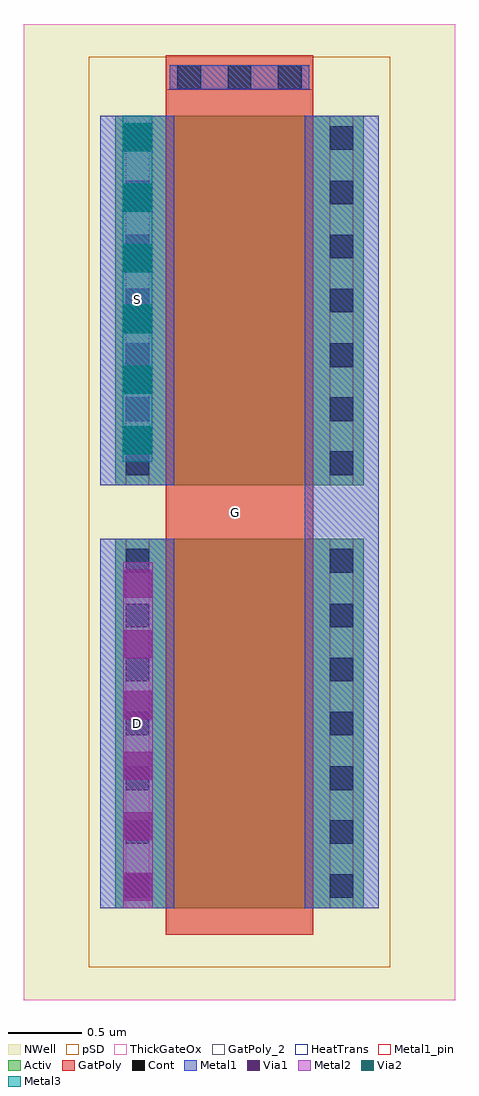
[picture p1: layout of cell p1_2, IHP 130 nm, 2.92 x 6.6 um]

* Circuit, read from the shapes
.subckt p1_2 D G S
XM1 n1 G D n2 sg13_hv_pmos w=2.5u l=1u
XM2 n1 G S n2 sg13_hv_pmos w=2.5u l=1u
.ends

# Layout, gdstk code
import gdstk
lib = gdstk.Library(unit=1e-6, precision=1e-09)
def R(c, l, rs):  # rectangles x0, y0, x1, y1
    for r in rs: c.add(gdstk.rectangle(r[:2], r[2:], *l))
def A(c, l, x, y, w, h, nx, ny, dx, dy):  # array of equal rectangles
    R(c, l, [(x+i*dx, y+j*dy, x+i*dx+w, y+j*dy+h) for i in range(nx) for j in range(ny)])
Activ = (1, 0)
GatPoly = (5, 0)
GatPoly_2 = (5, 2)
Cont = (6, 0)
Metal1 = (8, 0)
Metal1_pin = (8, 2)
Metal2 = (10, 0)
pSD = (14, 0)
Via1 = (19, 0)
Via2 = (29, 0)
Metal3 = (30, 0)
NWell = (31, 0)
ThickGateOx = (44, 0)
HeatTrans = (51, 0)

pmoshv = lib.new_cell('pmosHV')
R(pmoshv, Activ, [(0,0,0.3,0.3), (0,0,1.68,2.5), (1.38,0,1.68,0.3)])
R(pmoshv, GatPoly, [(0.34,-0.18,1.34,2.68)])
R(pmoshv, GatPoly_2, [(0.34,-0.18,1.34,2.68)])
A(pmoshv, Cont, 0.07, 0.07, 0.16, 0.16, 1, 3, 0, 0.365)
A(pmoshv, Cont, 1.45, 0.07, 0.16, 0.16, 1, 3, 0, 0.365)
A(pmoshv, Cont, 0.07, 1.17, 0.16, 0.16, 1, 3, 0, 0.365)
A(pmoshv, Cont, 1.45, 1.17, 0.16, 0.16, 1, 3, 0, 0.365)
R(pmoshv, Cont, [(0.07,2.27,0.23,2.43), (1.45,2.27,1.61,2.43)])
R(pmoshv, Metal1, [(0.07,0,0.23,2.5), (1.45,0,1.61,2.5)])
R(pmoshv, Metal1_pin, [(0.07,0,0.23,2.5), (1.45,0,1.61,2.5)])
R(pmoshv, pSD, [(-0.18,-0.4,1.86,2.9)])
R(pmoshv, NWell, [(-0.62,-0.62,2.3,3.12)])
R(pmoshv, ThickGateOx, [(-0.62,-0.62,2.3,3.12)])
R(pmoshv, HeatTrans, [(0.34,-0.18,1.34,2.68)])
pmoshv.add(gdstk.Label('pmosHV', (0.84,1.25), layer=63, texttype=0))
pmoshv.add(gdstk.Label('pmos', (0.84,1.25), layer=51, texttype=0))

via_stack_1 = lib.new_cell('via_stack$1')
R(via_stack_1, Metal1, [(-0.105,-1.17,0.105,1.17)])
R(via_stack_1, Metal2, [(-0.1,-1.17,0.1,1.17)])
A(via_stack_1, Via1, -0.095, -1.12, 0.19, 0.19, 1, 6, 0, 0.41)
A(via_stack_1, Via2, -0.095, -1.12, 0.19, 0.19, 1, 6, 0, 0.41)
R(via_stack_1, Metal3, [(-0.1,-1.17,0.1,1.17)])

via_stack = lib.new_cell('via_stack')
R(via_stack, Metal1, [(-0.105,-1.17,0.105,1.17)])
R(via_stack, Metal2, [(-0.1,-1.17,0.1,1.17)])
A(via_stack, Via1, -0.095, -1.12, 0.19, 0.19, 1, 6, 0, 0.41)

via_stack_2 = lib.new_cell('via_stack$2')
R(via_stack_2, GatPoly, [(-0.49,-0.15,0.49,0.15)])
A(via_stack_2, Cont, -0.42, -0.08, 0.16, 0.16, 3, 1, 0.34, 0)
R(via_stack_2, Metal1, [(-0.47,-0.08,0.47,0.08)])

p1_2 = lib.new_cell('p1_2')
R(p1_2, GatPoly, [(0.34,5.47,0.35,5.77), (0.34,5.47,0.35,5.77), (1.33,5.47,1.34,5.77), (1.33,5.47,1.34,5.77)])
R(p1_2, GatPoly_2, [(0.75,2.615,0.88,2.745)])
R(p1_2, Metal1_pin, [(0.085,1.185,0.215,1.315), (0.085,4.05,0.215,4.18)])
p1_2.add(gdstk.FlexPath([(1.53,5.36),(1.53,0),(1.53,0)], 0.5, ends="flush", simple_path=True, layer=8, datatype=0))  # Metal1
p1_2.add(gdstk.FlexPath([(0.15,2.86),(0.15,5.36)], 0.5, ends="flush", simple_path=True, layer=8, datatype=0))  # Metal1
p1_2.add(gdstk.FlexPath([(0.15,2.5),(0.15,0)], 0.5, ends="flush", simple_path=True, layer=8, datatype=0))  # Metal1
p1_2.add(gdstk.Reference(pmoshv, (0,2.86)))
p1_2.add(gdstk.Reference(pmoshv, (0,0)))
p1_2.add(gdstk.Reference(via_stack_1, (0.15,4.19)))
p1_2.add(gdstk.Reference(via_stack, (0.155,1.17)))
p1_2.add(gdstk.Reference(via_stack_2, (0.84,5.62)))
p1_2.add(gdstk.Reference(via_stack_2, (0.84,5.62)))
p1_2.add(gdstk.Label('S', (0.15,4.115), layer=8, texttype=25))
p1_2.add(gdstk.Label('D', (0.15,1.25), layer=8, texttype=25))
p1_2.add(gdstk.Label('G', (0.815,2.68), layer=5, texttype=1))

lib.write_gds('p1_2.gds')
